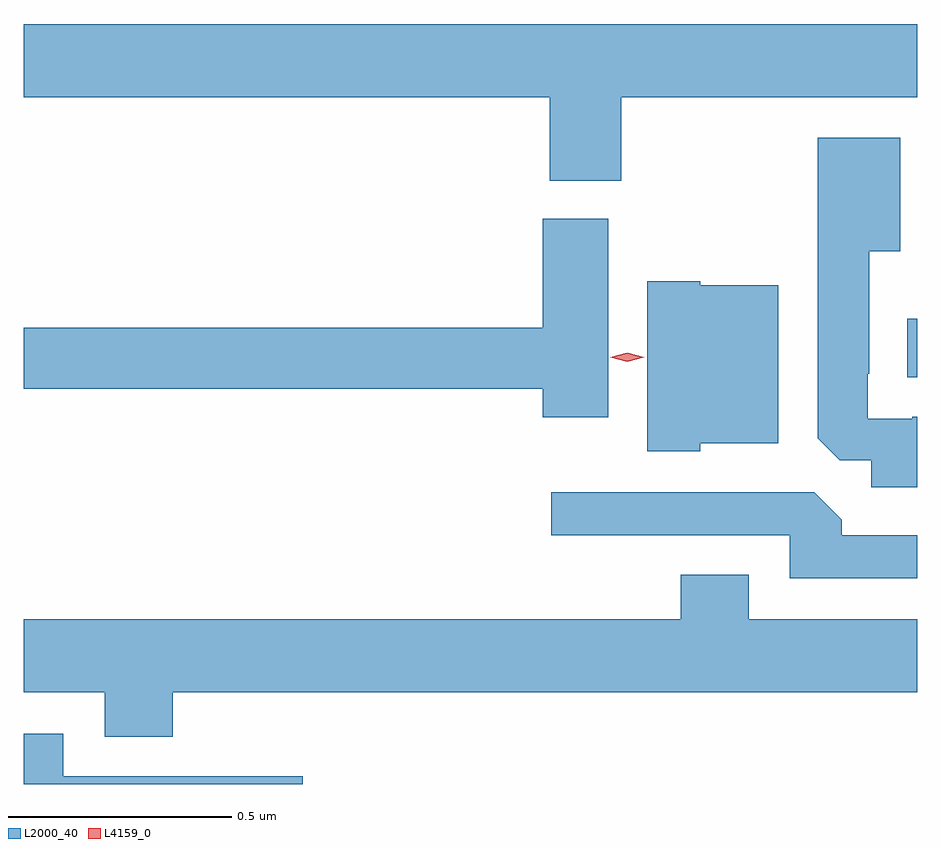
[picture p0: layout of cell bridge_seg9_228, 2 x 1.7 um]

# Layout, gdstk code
import gdstk
lib = gdstk.Library(unit=1e-6, precision=1e-09)
def R(c, l, rs):  # rectangles x0, y0, x1, y1
    for r in rs: c.add(gdstk.rectangle(r[:2], r[2:], *l))
def P(c, l, *ps):  # polygons
    for p in ps: c.add(gdstk.Polygon(p, *l))
L2000_40 = (2000, 40)
L4159_0 = (4159, 0)

bridge_seg9_228 = lib.new_cell('bridge_seg9_228')
R(bridge_seg9_228, L2000_40, [(149.294,1214.441,149.316,1214.572)])
P(bridge_seg9_228, L2000_40, [(148.653,1215.068),(149.316,1215.068),(149.316,1215.232),(147.316,1215.232),(147.316,1215.068),(148.493,1215.068),(148.493,1214.881),(148.653,1214.881)],
  [(149.316,1214.353),(149.305,1214.353),(149.305,1214.349),(149.205,1214.349),(149.205,1214.449),(149.209,1214.449),(149.209,1214.723),(149.278,1214.723),(149.278,1214.977),(149.093,1214.977),(149.093,1214.305),(149.142,1214.256),(149.213,1214.256),(149.213,1214.195),(149.316,1214.195)],
  [(148.624,1214.796),(148.478,1214.796),(148.478,1214.552),(147.316,1214.552),(147.316,1214.416),(148.478,1214.416),(148.478,1214.352),(148.624,1214.352)],
  [(148.83,1214.294),(149.005,1214.294),(149.005,1214.647),(148.83,1214.647),(148.83,1214.656),(148.712,1214.656),(148.712,1214.276),(148.83,1214.276)],
  [(149.316,1214.088),(149.147,1214.088),(149.147,1214.122),(149.085,1214.184),(148.497,1214.184),(148.497,1214.088),(149.031,1214.088),(149.031,1213.992),(149.316,1213.992)],
  [(147.65,1213.736),(149.316,1213.736),(149.316,1213.9),(148.939,1213.9),(148.939,1213.999),(148.787,1213.999),(148.787,1213.9),(147.316,1213.9),(147.316,1213.736),(147.497,1213.736),(147.497,1213.637),(147.65,1213.637)],
  [(147.94,1213.548),(147.405,1213.548),(147.405,1213.644),(147.316,1213.644),(147.316,1213.531),(147.94,1213.531)])
P(bridge_seg9_228, L4159_0, [(148.667,1214.476),(148.629,1214.486),(148.629,1214.486),(148.629,1214.486),(148.667,1214.496),(148.705,1214.486),(148.705,1214.486),(148.705,1214.486)])

lib.write_gds('bridge_seg9_228.gds')
